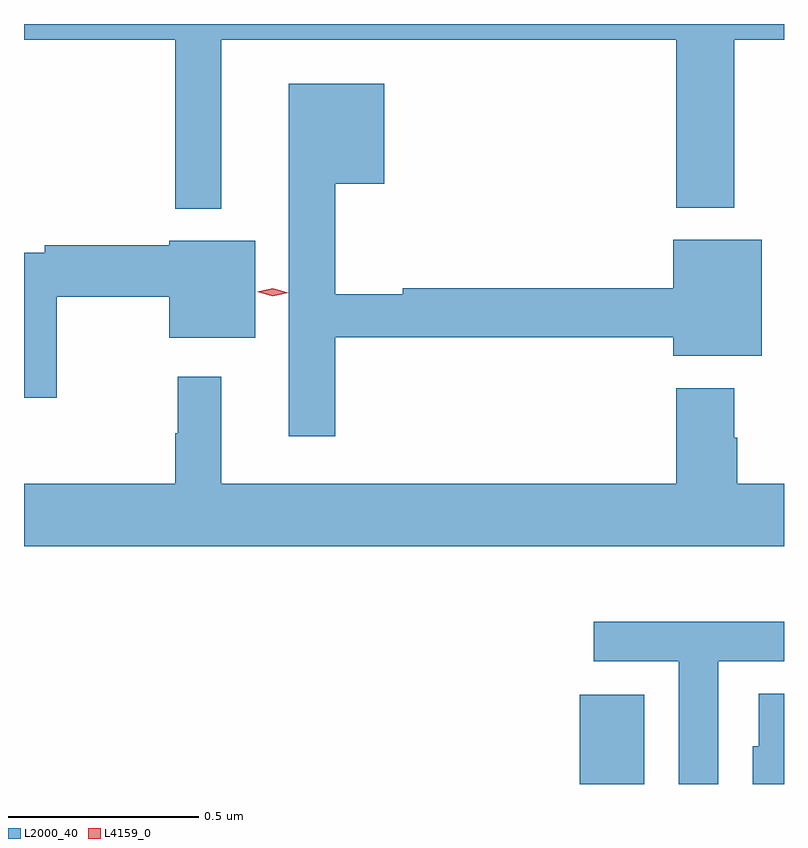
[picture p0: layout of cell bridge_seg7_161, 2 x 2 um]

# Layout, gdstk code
import gdstk
lib = gdstk.Library(unit=1e-6, precision=1e-09)
def R(c, l, rs):  # rectangles x0, y0, x1, y1
    for r in rs: c.add(gdstk.rectangle(r[:2], r[2:], *l))
def P(c, l, *ps):  # polygons
    for p in ps: c.add(gdstk.Polygon(p, *l))
L2000_40 = (2000, 40)
L4159_0 = (4159, 0)

bridge_seg7_161 = lib.new_cell('bridge_seg7_161')
R(bridge_seg7_161, L2000_40, [(578.918,1055.934,579.088,1056.169)])
P(bridge_seg7_161, L2000_40, [(577.975,1057.892),(579.173,1057.892),(579.173,1057.451),(579.325,1057.451),(579.325,1057.892),(579.456,1057.892),(579.456,1057.934),(577.456,1057.934),(577.456,1057.892),(577.854,1057.892),(577.854,1057.448),(577.975,1057.448)],
  [(578.275,1057.11),(579.164,1057.11),(579.164,1057.061),(579.397,1057.061),(579.397,1057.366),(579.164,1057.366),(579.164,1057.238),(578.453,1057.238),(578.453,1057.223),(578.275,1057.223),(578.275,1057.514),(578.404,1057.514),(578.404,1057.777),(578.153,1057.777),(578.153,1056.849),(578.275,1056.849)],
  [(577.542,1057.216),(577.838,1057.216),(577.838,1057.109),(578.065,1057.109),(578.065,1057.363),(577.838,1057.363),(577.838,1057.352),(577.51,1057.352),(577.51,1057.332),(577.456,1057.332),(577.456,1056.951),(577.542,1056.951)],
  [(579.456,1056.724),(579.333,1056.724),(579.333,1056.845),(579.325,1056.845),(579.325,1056.976),(579.173,1056.976),(579.173,1056.724),(577.975,1056.724),(577.975,1057.006),(577.861,1057.006),(577.861,1056.857),(577.854,1056.857),(577.854,1056.724),(577.456,1056.724),(577.456,1056.56),(579.456,1056.56)],
  [(579.283,1056.257),(579.456,1056.257),(579.456,1056.361),(578.955,1056.361),(578.955,1056.257),(579.179,1056.257),(579.179,1055.934),(579.283,1055.934)],
  [(579.456,1056.172),(579.389,1056.172),(579.389,1056.033),(579.374,1056.033),(579.374,1055.934),(579.456,1055.934)])
P(bridge_seg7_161, L4159_0, [(578.111,1057.218),(578.07,1057.229),(578.07,1057.229),(578.07,1057.229),(578.111,1057.238),(578.152,1057.227),(578.152,1057.227),(578.152,1057.227)])

lib.write_gds('bridge_seg7_161.gds')
